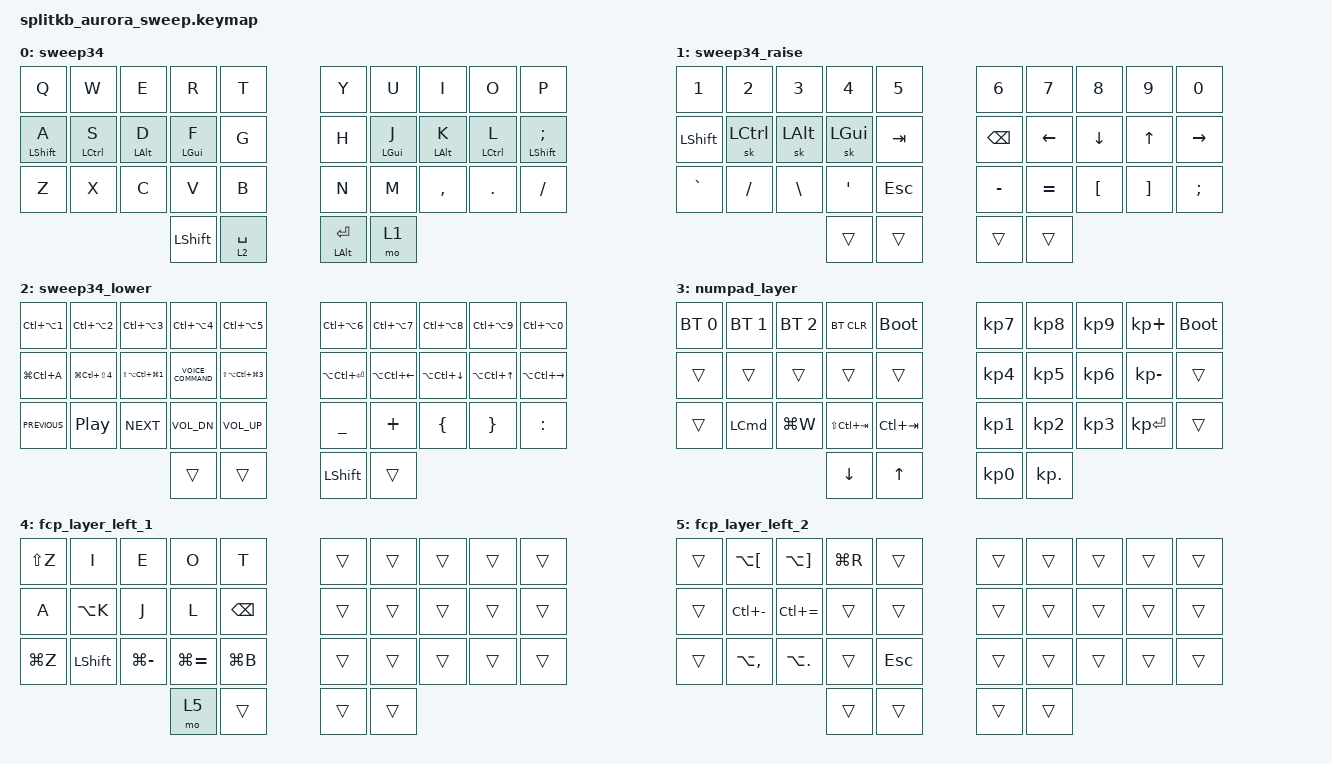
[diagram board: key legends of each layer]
/*
 * Copyright (c) 2022 The ZMK Contributors
 *
 * SPDX-License-Identifier: MIT
 */

#include <behaviors.dtsi>
#include <dt-bindings/zmk/bt.h>
#include <dt-bindings/zmk/ext_power.h>
#include <dt-bindings/zmk/keys.h>
#include <dt-bindings/zmk/outputs.h>

#include "zmk-helpers/helper.h"
#include "zmk-helpers/key-labels/34.h"

#define KEYS_L LT0 LT1 LT2 LT3 LT4 LM0 LM1 LM2 LM3 LM4 LB0 LB1 LB2 LB3 LB4 
#define KEYS_R RT0 RT1 RT2 RT3 RT4 RM0 RM1 RM2 RM3 RM4 RB0 RB1 RB2 RB3 RB4 
#define THUMBS LH1 LH0 RH0 RH1

/* left-hand HRMs */
ZMK_HOLD_TAP(hml,
    flavor = "balanced";
    tapping-term-ms = <280>;
    quick-tap-ms = <175>;                // repeat on tap-into-hold
    require-prior-idle-ms = <150>;
    bindings = <&kp>, <&kp>;
    hold-trigger-key-positions = <KEYS_R THUMBS>;
    hold-trigger-on-release;             // delay positional check until key-release
)

/* right-hand HRMs */
ZMK_HOLD_TAP(hmr,
    flavor = "balanced";
    tapping-term-ms = <280>;
    quick-tap-ms = <175>;                // repeat on tap-into-hold
    require-prior-idle-ms = <150>;
    bindings = <&kp>, <&kp>;
    hold-trigger-key-positions = <KEYS_L THUMBS>;
    hold-trigger-on-release;             // delay positional check until key-release
)

ZMK_HOLD_TAP(shift_space_priority,
    flavor = "hold-preferred";
    tapping-term-ms = <180>;    // Adjust based on typing speed
    quick-tap-ms = <150>;       // Max time between taps for double-tap
    require-prior-idle-ms = <200>; // Avoid misfires after fast typing
    bindings = <&kp>, <&kp>;
    hold-trigger-key-positions = <KEYS_R>; // Only trigger Shift if right-hand keys are pressed
    hold-trigger-on-release;    // Finalize hold/tap decision on key release
)

/ {
    behaviors {
        shift_caps_tap_dance: shift_caps_tap_dance {
            compatible = "zmk,behavior-tap-dance";
            label = "SHIFT_CAPS_TAP_DANCE";
            #binding-cells = <0>;
            bindings = <&sk LEFT_SHIFT>, <&kp CAPSLOCK>, <&caps_word>;
        };
    };

    combos {
        compatible = "zmk,combos";

        toggle_numpad {
            bindings = <&tog 3>;
            key-positions = <LH0 RH0>;
        };

        tab {
            bindings = <&kp TAB>;
            require-prior-idle-ms = <150>;
            key-positions = <LM1 LM0>;
        };

        backspace {
            bindings = <&kp BSPC>;
            require-prior-idle-ms = <150>;
            key-positions = <RM0 RM1>;
        };

        copy {
            bindings = <&kp LG(C)>;
            require-prior-idle-ms = <150>;
            key-positions = <LB3 LB2>;
        };

        paste {
            bindings = <&kp LG(V)>;
            require-prior-idle-ms = <150>;
            key-positions = <LB2 LB1>;
        };

        cut {
            bindings = <&kp LG(X)>;
            require-prior-idle-ms = <150>;
            key-positions = <LB4 LB3>;
        };

        fcp_mode {
            bindings = <&tog 4>;
            key-positions = <LH1 RH1>;
        };

        chatgpt {
            bindings = <&kp LS(LA(LG(SPACE)))>;
            require-prior-idle-ms = <150>;require-prior-idle-ms = <150>;
            key-positions = <LB1 LB0>;
        };
    };

    keymap {
        compatible = "zmk,keymap";

        sweep34 {
            bindings = <
&kp Q               &kp W                 &kp E             &kp R         &kp T               &kp Y      &kp U        &kp I                &kp O                  &kp P
&hml LEFT_SHIFT A   &hml LEFT_CONTROL S   &hml LEFT_ALT D   &hml LGUI F   &kp G               &kp H      &hmr LGUI J  &hmr LEFT_ALT K      &hmr LEFT_CONTROL L    &hmr LEFT_SHIFT SEMI
&kp Z               &kp X                 &kp C             &kp V         &kp B               &kp N      &kp M        &kp COMMA            &kp DOT                &kp FSLH
                                          &kp LEFT_SHIFT    &lt 2 SPACE   &mt LEFT_ALT ENTER  &mo 1
            >;
        };

        sweep34_raise {
            bindings = <
&kp N1                &kp N2            &kp N3        &kp N4    &kp N5        &kp N6         &kp N7     &kp N8    &kp N9             &kp N0
&kp LEFT_SHIFT        &sk LEFT_CONTROL  &sk LEFT_ALT  &sk LGUI  &kp TAB       &kp BACKSPACE  &kp LEFT   &kp DOWN  &kp UP             &kp RIGHT
&kp GRAVE             &kp FSLH          &kp BSLH      &kp SQT   &kp ESCAPE    &kp MINUS      &kp EQUAL  &kp LBKT  &kp RIGHT_BRACKET  &kp SEMICOLON
                                                      &trans    &trans        &trans         &trans
            >;
        };

        sweep34_lower {
            bindings = <
&kp LC(LA(N1))    &kp LC(LA(N2))        &kp LC(LA(N3))                &kp LC(LA(N4))                &kp LC(LA(N5))                  &kp LC(LA(N6))     &kp LC(LA(N7))          &kp LC(LA(N8))          &kp LC(LA(N9))        &kp LC(LA(N0))
&kp LG(LC(A))     &kp LG(LC(LS(N4)))    &kp LS(LA(LC(LG(NUMBER_1))))  &kp C_VOICE_COMMAND           &kp LS(LA(LC(LG(NUMBER_3))))    &kp LA(LC(ENTER))  &kp LA(LC(LEFT_ARROW))  &kp LA(LC(DOWN_ARROW))  &kp LA(LC(UP_ARROW))  &kp LA(LC(RIGHT_ARROW))
&kp C_PREVIOUS    &kp C_PLAY_PAUSE      &kp C_NEXT                    &kp C_VOL_DN                  &kp C_VOLUME_UP                 &kp UNDERSCORE     &kp PLUS                &kp LEFT_BRACE          &kp RIGHT_BRACE       &kp COLON
                                                                      &trans                        &trans                          &kp LEFT_SHIFT             &trans
            >;
        };

        numpad_layer {
            bindings = <
&bt BT_SEL 0       &bt BT_SEL 1      &bt BT_SEL 2  &bt BT_CLR       &bootloader     &kp KP_NUMBER_7  &kp KP_NUMBER_8  &kp KP_NUMBER_9  &kp KP_PLUS   &bootloader
&trans             &trans            &trans        &trans           &trans          &kp KP_NUMBER_4  &kp KP_NUMBER_5  &kp KP_NUMBER_6  &kp KP_MINUS  &trans
&trans             &kp LEFT_COMMAND  &kp LG(W)     &kp LS(LC(TAB))  &kp LC(TAB)     &kp KP_NUMBER_1  &kp KP_NUMBER_2  &kp KP_NUMBER_3  &kp KP_ENTER  &trans
                                                   &kp DOWN         &kp UP_ARROW    &kp KP_NUMBER_0  &kp KP_DOT
            >;
        };

        fcp_layer_left_1 {
            bindings = <
&kp LS(Z)  &kp I           &kp E          &kp O          &kp T        &trans  &trans  &trans  &trans  &trans
&kp A      &kp LA(K)       &kp J          &kp L          &kp BSPC     &trans  &trans  &trans  &trans  &trans
&kp LG(Z)  &kp LEFT_SHIFT  &kp LG(MINUS)  &kp LG(EQUAL)  &kp LG(B)    &trans  &trans  &trans  &trans  &trans
                                          &mo 5          &trans       &trans  &trans
            >;
        };

        fcp_layer_left_2 {
            bindings = <
&trans  &kp LA(LBKT)   &kp LA(RIGHT_BRACKET)  &kp LG(R)  &trans     &trans  &trans  &trans  &trans  &trans
&trans  &kp LC(MINUS)  &kp LC(EQUAL)          &trans     &trans     &trans  &trans  &trans  &trans  &trans
&trans  &kp LA(COMMA)  &kp LA(DOT)            &trans     &kp ESC    &trans  &trans  &trans  &trans  &trans
                                              &trans     &trans     &trans  &trans
            >;
        };
    };
};
